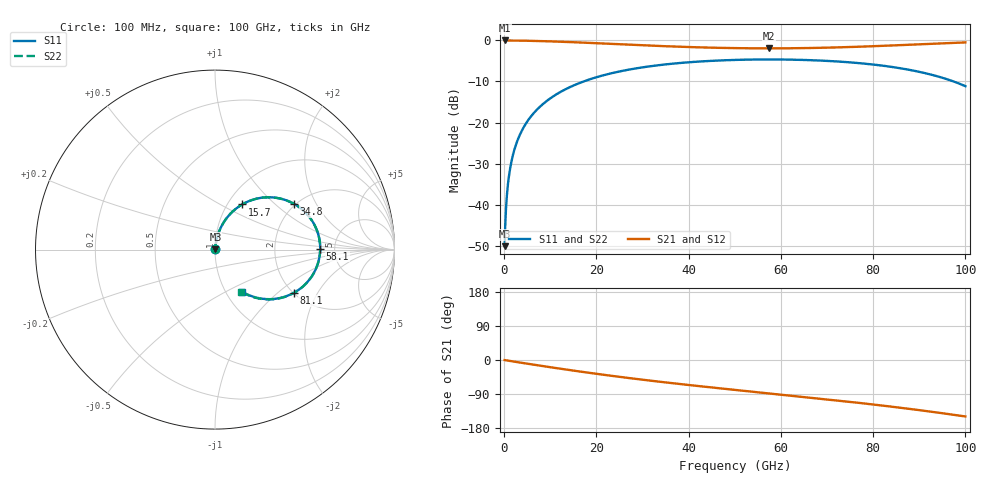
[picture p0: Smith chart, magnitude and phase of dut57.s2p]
! Touchstone file exported from HFSS 2026.1.0
!  File:  C:/ffzhzh/LocalFiles/Ansys_Project_Files/temp_train_RDL_57_1783498401_44152.aedt
!  Generated:  04:14:35 PM Jul  8, 2026
!  Design:  RDL
!  Project:  temp_train_RDL_57_1783498401_44152
! Variables:
!  h_bsmrdl = 2um
!  h_ox = 20um
!  h_rdl = 5um
!  h_sub = 80um
!  h_tmrdl = 4.99um
!  h_tsv = 80um
!  h_via = 3um
!  l_bsmrdl = 300um
!  l_sub = 915.24um
!  l_tmrdl = 515.24um
!  m_sub = 200um
!  pitch = 47.03um
!  r_tsv = 6um
!  s_tmrdl = 10um
!  w_bsmrdl = 18um
!  w_sub = 500um
!  w_tmrdl = 17.73um
!  x_tsv_center1 = 524.105um
!  x_tsv_center2 = 842.105um
!  x_tsv_center3 = 1375.075um
!  x_tsv_center4 = 1693.075um
!  x_tsv_center5 = 2226.045um
!  x_tsv_center6 = 2544.045um
# GHz S MA R 50.000000
! Terminal data exported
! Port[1] = TM_RDL1_1_T1
! Port[2] = TM_RDL1_1_T2
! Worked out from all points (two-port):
!   1000 points, 100 MHz to 100 GHz, reference 50 ohm
!   highest |S21| = -0.02 dB at 100 MHz (marker M1); lowest = -1.9 dB at 57.4 GHz (marker M2)
!   |S21| within 3 dB of the highest: start of sweep to end of sweep
!   lowest |S11| = -50.1 dB at 100 MHz (marker M3), VSWR 1.01, Z = 50.2 + j0.226 ohm
!   |S11| at or under -10 dB: start of sweep to 17.21 GHz; 97.45 GHz to end of sweep
!   |S22| runs from -50.1 to -4.6 dB; largest |S21 - S12| = 1.7e-14
!   S11 on the Smith chart (normalised r, x): 100 MHz: 1.00, +0.00; 15.7 GHz: 1.17, +0.64; 34.8 GHz: 1.96, +1.35; 58.1 GHz: 3.83, +0.06; 81.1 GHz: 2.00, -1.29; 100 GHz: 1.19, -0.60
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0.1  0.003142 45.8  0.9978 -0.2  0.9978 -0.2  0.003142 45.8
! Gamma 0 0 0 0
! Port Impedance 50 0 50 0
0.8  0.0173 79.7  0.9972 -1.6  0.9972 -1.6  0.0173 79.7
1.1  0.02356 81.1  0.997 -2.2  0.997 -2.2  0.02356 81.1
1.4  0.02982 81.7  0.9967 -2.8  0.9967 -2.8  0.02982 81.7
2.4  0.05057 81.4  0.9953 -4.7  0.9953 -4.7  0.05057 81.4
3.7  0.07707 79.5  0.9927 -7.2  0.9927 -7.2  0.07707 79.5
5.7  0.1166 76.2  0.9875 -11.1  0.9875 -11.1  0.1166 76.2
8.3  0.166 71.7  0.9791 -15.9  0.9791 -15.9  0.166 71.7
11.6  0.2254 66.0  0.966 -21.9  0.966 -21.9  0.2254 66.0
15.7  0.2932 59.0  0.9467 -29.2  0.9467 -29.2  0.2932 59.0
16.8  0.3101 57.2  0.9412 -31.1  0.9412 -31.1  0.3101 57.2
24.7  0.4152 44.6  0.8993 -44.0  0.8993 -44.0  0.4152 44.6
33.4  0.4986 31.9  0.8561 -56.9  0.8561 -56.9  0.4986 31.9
34.8  0.5091 30.0  0.8499 -58.9  0.8499 -58.9  0.5091 30.0
50.1  0.5786 10.3  0.8051 -79.0  0.8051 -79.0  0.5786 10.2
57.4  0.5863 1.4  0.7997 -88.1  0.7997 -88.1  0.5863 1.3
58.1  0.5862 0.5  0.7997 -88.9  0.7997 -88.9  0.5862 0.4
66.7  0.5739 -10.0  0.8084 -99.7  0.8084 -99.7  0.5739 -10.2
81.1  0.5001 -28.9  0.8539 -119.0  0.8539 -119.0  0.5001 -29.1
83.4  0.4812 -32.1  0.8641 -122.3  0.8641 -122.3  0.4811 -32.3
92.4  0.3855 -45.4  0.9084 -136.1  0.9084 -136.1  0.3854 -45.8
100  0.2774 -57.3  0.9445 -149.0  0.9445 -149.0  0.2773 -57.9
